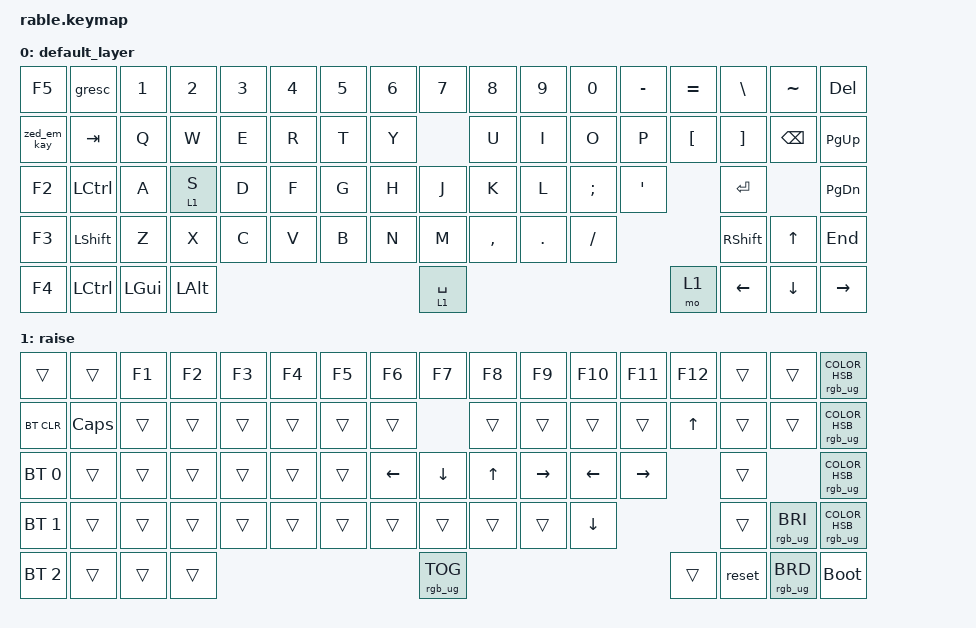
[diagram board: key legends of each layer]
/*
 * Copyright (c) 2021 Nick Winans
 *
 * SPDX-License-Identifier: MIT
 */

#include <behaviors.dtsi>
#include <dt-bindings/zmk/keys.h>
#include <dt-bindings/zmk/rgb.h>
#include <dt-bindings/zmk/bt.h>
#include <dt-bindings/zmk/outputs.h>

//color remampping
#define blue   &rgb_ug RGB_COLOR_HSB(210, 100, 100)
#define red    &rgb_ug RGB_COLOR_HSB(0, 100, 100)
#define green  &rgb_ug RGB_COLOR_HSB(120, 100, 100)
#define purple &rgb_ug RGB_COLOR_HSB(270, 100, 100)

/ {
    macros {
        zed_em_kay: zed_em_kay {
            label = "ZM_zed_em_kay";
            compatible = "zmk,behavior-macro";
            #binding-cells = <0>;
            bindings
                = <&macro_press &kp LGUI &kp LSHFT>
                , <&macro_tap &kp S>
                , <&macro_release &kp LGUI &kp LSHFT>
                ;
        };
    };
};


/ {
  keymap {
    compatible = "zmk,keymap";
    
    default_layer {
        // ----------------------------------------------------------------------------------------------------------
        // | F5  | ESC |  1  |  2  |  3  |  4  |  5  |  6  |  7  |  8  |  9  |  0  |  -  |  =  | BSLH |  TILDE  |  DEL  |
        // | F1  | TAB  |  Q  |  W  |  E  |  R  |  T  |  Y  |  U  |  I  |  O  |  P  |  [  |  ]  |   BSPC   | PG UP   |
        // | F2  | CAPS  |  A  |  S(1)| D  |  F  |  G  |  H  |  J  |  K  |  L  |  ;  |  '  |     ENTER    | PG DOWN |
        // | F3  |  SHIFT  |  Z  |  X  |  C  |  V  |  B  |  N  |  M  |  ,  |  .  |  /  |   SHIFT  |  UP   | END     |
        // | F4  |  CTL  |  WIN  |  ALT  |                SPACE MO(1)          |  MO(1)  |  LEFT  |  DOWN | RIGHT   |
        // ----------------------------------------------------------------------------------------------------------
      bindings = <
        &kp F5       &gresc     &kp N1   &kp N2   &kp N3   &kp N4   &kp N5   &kp N6   &kp N7   &kp N8     &kp N9   &kp N0    &kp MINUS  &kp EQUAL  &kp BSLH  &kp TILDE  &kp DEL
        &zed_em_kay  &kp TAB    &kp Q    &kp W    &kp E    &kp R    &kp T    &kp Y    &kp U    &kp I      &kp O    &kp P     &kp LBKT   &kp RBKT       &kp BSPC         &kp PG_UP
        &kp F2       &kp LCTRL  &kp A    &lt 1 S  &kp D    &kp F    &kp G    &kp H    &kp J    &kp K      &kp L    &kp SEMI  &kp SQT           &kp RET                  &kp PG_DN
        &kp F3       &kp LSHFT  &kp Z    &kp X    &kp C    &kp V    &kp B    &kp N    &kp M    &kp COMMA  &kp DOT  &kp FSLH                      &kp RSHFT   &kp UP     &kp END
        &kp F4       &kp LCTRL  &kp LGUI &kp LALT                                  &lt 1 SPACE                                        &mo 1    &kp LEFT      &kp DOWN   &kp RIGHT
      >;
    };

    raise {
        // --------------------------------------------------------------------------------------------------------------
        // |       |   |  F1  |  F2  |  F3  |  F4  |  F5   |  F6   |  F7  |  F8  |  F9  |  F10  |  F11  |  F12  |     |     |     |
        // | BT CLR  |   |     |     |     |     |     |     |     |     |     |     |     |     |     |     |
        // | BT 1  |   |     |     |     |     |     |LEFT |DOWN |  UP |RIGHT|     |     |     |     |
        // | BT 2  |   |     |     |     |     |     |     |     |     |     |     |     |     |     |
        // | BT 3  |   |     |     |                            RGB TOG                        |     |     |    |     |
        // ---------------------------------------------------------------------------------------------------------------
      bindings = <
        &trans         &trans    &kp F1   &kp F2    &kp F3   &kp F4    &kp F5   &kp F6    &kp F7   &kp F8    &kp F9    &kp F10    &kp F11   &kp F12    &trans   &trans             blue      
        &bt BT_CLR     &kp CAPS  &trans   &trans    &trans   &trans    &trans   &trans    &trans   &trans    &trans    &trans     &kp UP    &trans         &trans                  red 
        &bt BT_SEL 0   &trans    &trans   &trans    &trans   &trans    &trans   &kp LEFT  &kp DOWN &kp UP    &kp RIGHT &kp LEFT     &kp RIGHT            &trans                         green  
        &bt BT_SEL 1   &trans    &trans   &trans    &trans   &trans    &trans   &trans    &trans   &trans    &trans    &kp DOWN                       &trans      &rgb_ug RGB_BRI    purple   
        &bt BT_SEL 2   &trans    &trans   &trans                                   &rgb_ug RGB_TOG                                          &trans  &reset      &rgb_ug RGB_BRD    &bootloader
      >;
    };
  };
};
